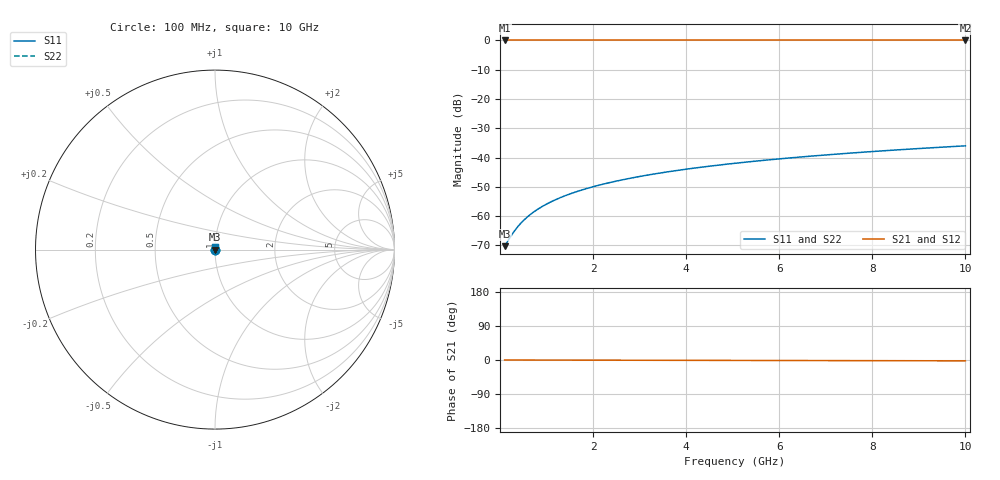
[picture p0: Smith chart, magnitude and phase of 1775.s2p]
# Hz S RI R 50.00
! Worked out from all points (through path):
!   100 points, 100 MHz to 10 GHz, reference 50 ohm
!   highest |S21| = 0.00 dB at 100 MHz (marker M1); lowest = 0.0 dB at 10 GHz (marker M2)
!   lowest |S11| = -70.3 dB at 100 MHz (marker M3), VSWR 1.00, Z = 50 + j0.0158 ohm
!   |S11| at or under -10 dB: start of sweep to end of sweep
!   |S22| runs from -70.3 to -36.0 dB; largest |S21 - S12| = 0
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1e8  0.000262 0.000157  0.9997 -0.000384  0.9997 -0.000384  0.000262 0.000157
2e8  0.000264 0.000315  0.9997 -0.000769  0.9997 -0.000769  0.000264 0.000315
3e8  0.000265 0.000472  0.9997 -0.00115  0.9997 -0.00115  0.000265 0.000472
4e8  0.000267 0.00063  0.9997 -0.00154  0.9997 -0.00154  0.000267 0.00063
5e8  0.000268 0.000787  0.9997 -0.00192  0.9997 -0.00192  0.000268 0.000787
6e8  0.000269 0.000945  0.9997 -0.00231  0.9997 -0.00231  0.000269 0.000945
7e8  0.000271 0.0011  0.9997 -0.00269  0.9997 -0.00269  0.000271 0.0011
9e8  0.000274 0.00142  0.9997 -0.00346  0.9997 -0.00346  0.000274 0.00142
1e9  0.000275 0.00157  0.9997 -0.00384  0.9997 -0.00384  0.000275 0.00157
1.2e9  0.000279 0.00189  0.9997 -0.00461  0.9997 -0.00461  0.000279 0.00189
1.5e9  0.000285 0.00236  0.9997 -0.00577  0.9997 -0.00577  0.000285 0.00236
1.8e9  0.000292 0.00283  0.9997 -0.00692  0.9997 -0.00692  0.000292 0.00283
2.1e9  0.0003 0.00331  0.9997 -0.00807  0.9997 -0.00807  0.0003 0.00331
2.5e9  0.000312 0.00394  0.9997 -0.00961  0.9997 -0.00961  0.000312 0.00394
2.9e9  0.000326 0.00457  0.9996 -0.0112  0.9996 -0.0112  0.000326 0.00457
3.4e9  0.000346 0.00536  0.9996 -0.0131  0.9996 -0.0131  0.000346 0.00536
4.2e9  0.000385 0.00662  0.9996 -0.0162  0.9996 -0.0162  0.000385 0.00662
5.1e9  0.000438 0.00804  0.9995 -0.0196  0.9995 -0.0196  0.000438 0.00804
5.9e9  0.000493 0.0093  0.9994 -0.0227  0.9994 -0.0227  0.000493 0.0093
6.7e9  0.000556 0.0106  0.9993 -0.0258  0.9993 -0.0258  0.000556 0.0106
8.4e9  0.000716 0.0133  0.9991 -0.0324  0.9991 -0.0324  0.000716 0.0133
1e10  0.0009 0.0158  0.9988 -0.0386  0.9988 -0.0386  0.0009 0.0158
